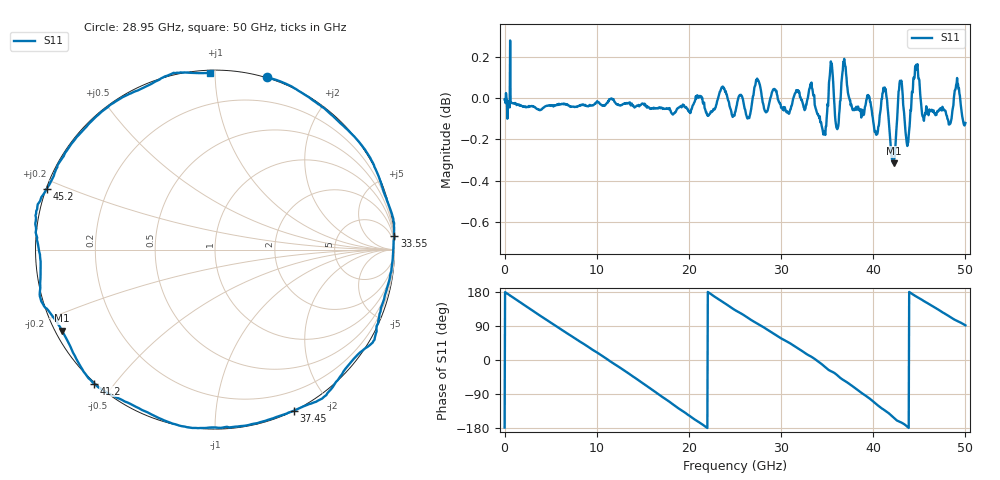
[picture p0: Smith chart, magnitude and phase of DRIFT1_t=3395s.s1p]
!Created with skrf (http://scikit-rf.org).
# Hz S RI R 50.0
!freq ReS11 ImS11
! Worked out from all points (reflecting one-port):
!   1001 points, 300 kHz to 50 GHz, reference 50 ohm
!   lowest |S11| = -0.3 dB at 42.2 GHz (marker M1), VSWR 55.09, Z = 0.964 - j12.4 ohm
!   phase of S11 starts at -178 deg and turns -810 deg over the sweep
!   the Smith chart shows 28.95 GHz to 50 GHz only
!   S11 on the Smith chart (normalised r, x): 28.95 GHz: -0.00, +1.35; 33.55 GHz: -1, +26; 37.45 GHz: 0.00, -1.61; 41.2 GHz: -0.00, -0.44; 45.2 GHz: 0.00, +0.17; 50 GHz: 0.01, +0.97
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300000  -0.9989 -0.0299
1.60029e9  -0.893 0.442
3.40028e9  -0.5601 0.8219
6.250262e9  0.1945 0.9777
9.550243e9  0.8886 0.4504
1.115023e10  0.9972 0.0302
1.250022e10  0.9367 -0.3387
1.415022e10  0.6778 -0.7286
1.580021e10  0.2592 -0.9598
1.73002e10  -0.1818 -0.9774
1.875019e10  -0.5811 -0.8068
2.170017e10  -0.9896 -0.1003
2.345016e10  -0.9248 0.3926
2.500015e10  -0.6611 0.7399
2.720014e10  -0.1624 0.994
2.895013e10  0.2892 0.9596
3.125011e10  0.7661 0.64
3.35501e10  0.9987 0.0782
3.555009e10  0.8703 -0.5255
3.745008e10  0.4404 -0.8967
3.750008e10  0.4274 -0.9029
3.940006e10  -0.1395 -0.9917
4.120005e10  -0.6731 -0.7467
4.220005e10  -0.8519 -0.4518
4.375004e10  -0.974 -0.0467
4.520003e10  -0.9377 0.338
4.770001e10  -0.5452 0.8303
5e10  -0.0263 0.986
